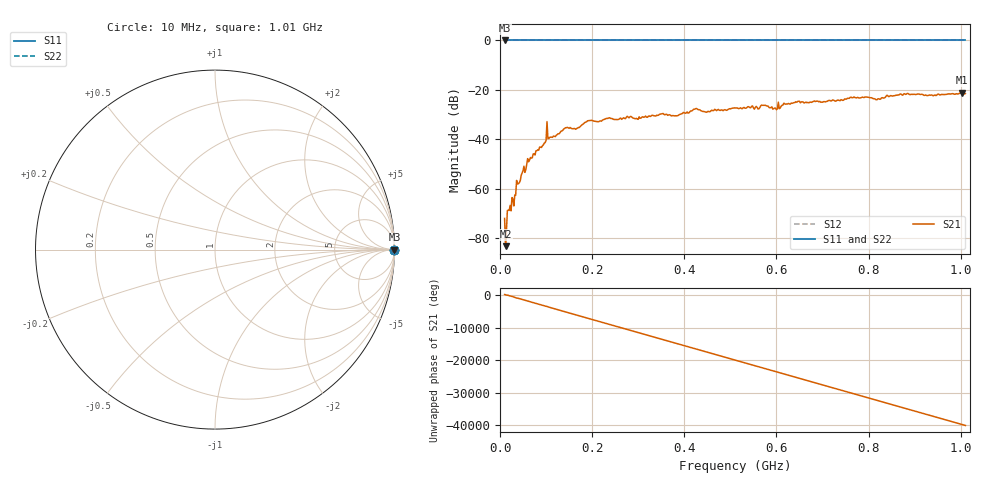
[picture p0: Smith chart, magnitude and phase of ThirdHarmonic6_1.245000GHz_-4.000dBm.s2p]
! 8/16/2025 1:15:24 PM
! C:\ANRITSUVNA\TEMP\TEMP.S2P
! CHANNEL.1
! TR.MEASUREMENT
! RAW.DATA
! RF.CORRECTION.OFF
! AVERAGING.OFF
! IF.BANDWIDTH: 5KHZ
! SWEEPTYPE:  FREQ.SWEEP(Linear)
! Reference Plane Port Info
! PORT:  PORT1  PORT2
! DISTANCE:  0  m  0  m
! TIME:  0  s  0  s
! PHASE.OFFSET:  0  deg.  0  deg.
! LOSS:  0  dB  0  dB
! REF.LOSS:  0  dB  0  dB
! REF.FREQ:  0  Hz  0  Hz
! Power Info
! POWER:  -20  dBm  -20  dBm
! EFF.POWER:  -20  dBm  -20  dBm
! SOURCE.ATTEN:  0  dB  0  dB
! TEST.ATTEN:  0  dB  0  dB
# GHZ S RI R 50.0
! FREQ.GHZ  S11RE  S11IM  S21RE  S21IM  S12RE  S12IM  S22RE  S22IM
!; PortSelection: Port_12
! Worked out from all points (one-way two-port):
!   501 points, 10 MHz to 1.01 GHz, reference 50 ohm
!   highest |S21| = -21.15 dB at 1.002 GHz (marker M1); lowest = -83.3 dB at 12 MHz (marker M2)
!   lowest |S11| = 0.0 dB at 10 MHz (marker M3)
!   |S11| at or under -10 dB: nowhere
!   |S22| runs from 0.0 to 0.0 dB; largest |S21 - S12| = 1.1
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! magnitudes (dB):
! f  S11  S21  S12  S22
! 10 MHz  0.0  -72.0  0.0  0.0
! 12 MHz  0.0  -83.3  0.0  0.0
! 16 MHz  0.0  -68.8  0.0  0.0
! 20 MHz  0.0  -68.8  0.0  0.0
! 28 MHz  0.0  -64.2  0.0  0.0
! 36 MHz  0.0  -56.7  0.0  0.0
! 48 MHz  0.0  -53.7  0.0  0.0
! 64 MHz  0.0  -48.5  0.0  0.0
! 94 MHz  0.0  -42.3  0.0  0.0
! 100 MHz  0.0  -40.4  0.0  0.0
! 178 MHz  0.0  -34.1  0.0  0.0
! 194 MHz  0.0  -32.5  0.0  0.0
! 344 MHz  0.0  -30.2  0.0  0.0
! 424 MHz  0.0  -27.7  0.0  0.0
! 510 MHz  0.0  -27.3  0.0  0.0
! 572 MHz  0.0  -26.3  0.0  0.0
! 596 MHz  0.0  -27.3  0.0  0.0
! 620 MHz  0.0  -25.8  0.0  0.0
! 678 MHz  0.0  -24.9  0.0  0.0
! 844 MHz  0.0  -22.7  0.0  0.0
! 1.002 GHz  0.0  -21.1  0.0  0.0
! 1.01 GHz  0.0  -21.5  0.0  0.0
